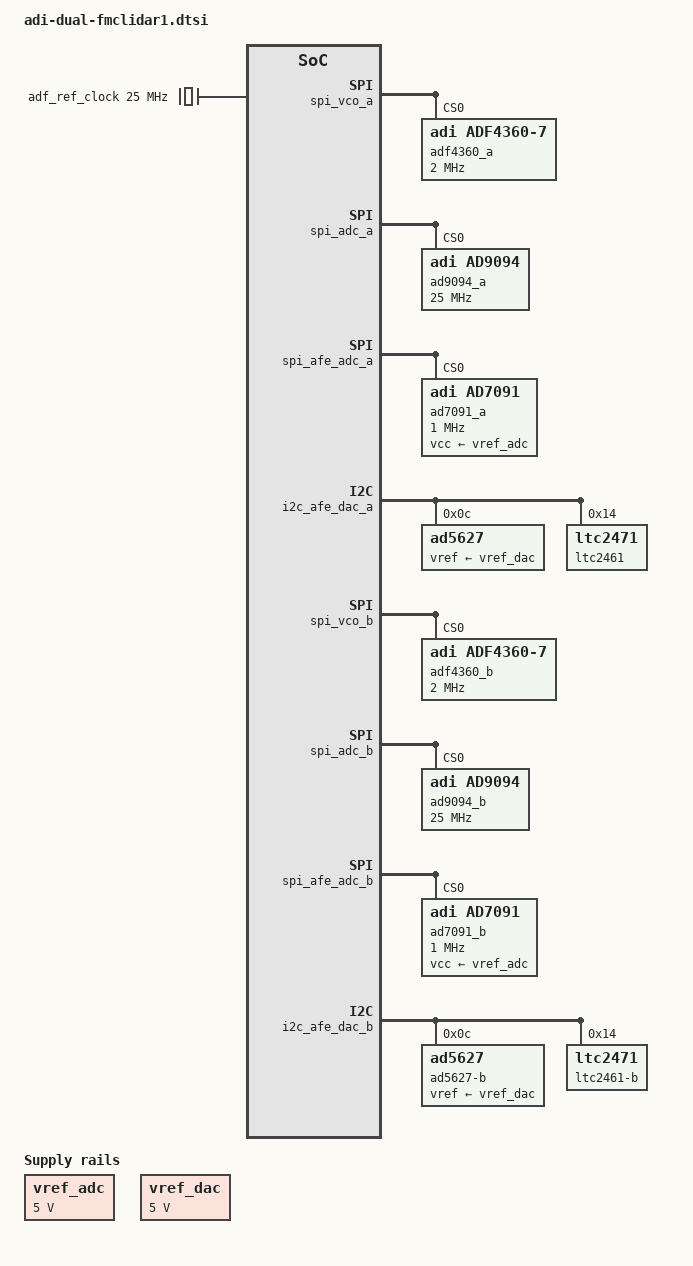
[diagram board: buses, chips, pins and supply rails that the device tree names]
#include <dt-bindings/iio/frequency/ad9528.h>

/ {
	clocks {
		adf_ref_clock: clock@0 {
			#clock-cells = <0>;
			compatible = "fixed-clock";
			clock-frequency = <25000000>;
			clock-output-names = "adf_ref_clock";
		};
	};

	vref_adc: regulator-vref-adc {
		compatible = "regulator-fixed";
		regulator-name = "vref-adc";
		regulator-min-microvolt = <5000000>;
		regulator-max-microvolt = <5000000>;
		regulator-always-on;
	};

	vref_dac: regulator-vref-dac {
		compatible = "regulator-fixed";
		regulator-name = "vref-dac";
		regulator-min-microvolt = <5000000>;
		regulator-max-microvolt = <5000000>;
		regulator-always-on;
	};
};

&spi_vco_a {
	adf4360_a: pll@0 {
		compatible = "adi,adf4360-7";
		reg = <0>;
		spi-max-frequency = <2000000>;

		#clock-cells = <0>;

		clocks = <&adf_ref_clock>;
		clock-names = "clkin";
		clock-output-names = "adf4360-7";

		adi,loop-filter-charge-pump-current-microamp = <1870>;
		adi,loop-filter-pfd-frequency-hz = <2500000>;
		adi,power-up-frequency-hz = <1000000000>;
	};
};

&spi_clkgen_a {
	ad9528_a: ad9528@0 {
		#address-cells = <1>;
		#size-cells = <0>;
		#clock-cells = <1>;
		compatible = "adi,ad9528";

		spi-max-frequency = <10000000>;
		reg = <0>;

		clocks = <&adf4360_a>;

		clock-output-names = "ad9528_out0", "ad9528_out1", "ad9528_out2", "ad9528_out3", "ad9528_out4", "ad9528_out5", "ad9528_out6", "ad9528_out7", "ad9528_out8", "ad9528_out9", "ad9528_out10", "ad9528_out11", "ad9528_out12", "ad9528_out13";
		adi,vcxo-freq = <1000000000>;

		adi,osc-in-diff-enable;

		/* PLL1 config */
		adi,pll1-bypass-enable;

		/* PLL2 config */
		adi,pll2-bypass-enable;

		ad9528_a_c0: channel@0 {
			reg = <0>;
			adi,extended-name = "ADC_SAMPLE_CLK";
			adi,driver-mode = <DRIVER_MODE_LVDS>;
			adi,divider-phase = <0>;
			adi,channel-divider = <1>;
			adi,signal-source = <SOURCE_VCO>;
		};

		ad9528_a_c1: channel@1 {
			reg = <1>;
			adi,extended-name = "CLK_SYSREF_ADC";
			adi,driver-mode = <DRIVER_MODE_LVDS>;
			adi,divider-phase = <0>;
			adi,channel-divider = <128>;
			adi,signal-source = <SOURCE_VCO>;
		};

		ad9528_a_c2: channel@2 {
			reg = <2>;
			adi,extended-name = "SYSREF_TO_FPGA";
			adi,driver-mode = <DRIVER_MODE_LVDS>;
			adi,divider-phase = <4>;
			adi,channel-divider = <128>;
			adi,signal-source = <SOURCE_VCO>;
		};

		ad9528_a_c3: channel@3 {
			reg = <3>;
			adi,extended-name = "ADC_DEV_CLK";
			adi,driver-mode = <DRIVER_MODE_LVDS>;
			adi,divider-phase = <0>;
			adi,channel-divider = <4>;
			adi,signal-source = <SOURCE_VCO>;
		};

		ad9528_a_c4: channel@4 {
			reg = <4>;
			adi,extended-name = "EXT_REFCLK_TO_FPGA";
			adi,driver-mode = <DRIVER_MODE_LVDS>;
			adi,divider-phase = <0>;
			adi,channel-divider = <4>;
			adi,signal-source = <SOURCE_VCO>;
		};

	};
};

&spi_adc_a {
	ad9094_a: ad9094@1 {
		#address-cells = <1>;
		#size-cells = <0>;
		#clock-cells = <1>;
		compatible = "adi,ad9094";

		/* SPI Setup */
		reg = <0>;
		spi-max-frequency = <25000000>;

		/* Clocks */
		clocks = <&axi_ad9094_rx_jesd_a>, <&ad9528_a 0>, <&ad9528_a 1>;
		clock-names = "jesd_adc_clk", "adc_clk", "adc_sysref";
	};
};

&spi_afe_adc_a {
	ad7091_a: ad7091@0 {
		compatible = "adi,ad7091";
		reg = <0>;
		spi-max-frequency = <1000000>;
		spi-cpol;
		vcc-supply = <&vref_adc>;
	};
};

&i2c_afe_dac_a {
	ad5627@0c {
		compatible = "ad5627";
		reg = <0x0c>;

		vref-supply = <&vref_dac>;
	};

	ltc2461@14 {
		compatible = "ltc2471";
		reg = <0x14>;
	};
};

&spi_vco_b {
	adf4360_b: pll-b@0 {
		compatible = "adi,adf4360-7";
		reg = <0>;
		spi-max-frequency = <2000000>;

		#clock-cells = <0>;

		clocks = <&adf_ref_clock>;
		clock-names = "clkin";
		clock-output-names = "adf4360-7-b";

		adi,loop-filter-charge-pump-current-microamp = <1870>;
		adi,loop-filter-pfd-frequency-hz = <2500000>;
		adi,power-up-frequency-hz = <1000000000>;
	};
};

&spi_clkgen_b {
	ad9528_b: ad9528-b@0 {
		#address-cells = <1>;
		#size-cells = <0>;
		#clock-cells = <1>;
		compatible = "adi,ad9528";

		spi-max-frequency = <10000000>;
		reg = <0>;

		clocks = <&adf4360_b>;

		clock-output-names = "ad9528_out0-b", "ad9528_out1-b", "ad9528_out2-b", "ad9528_out3-b", "ad9528_out4-b", "ad9528_out5-b", "ad9528_out6-b", "ad9528_out7-b", "ad9528_out8-b", "ad9528_out9-b", "ad9528_out10-b", "ad9528_out11-b", "ad9528_out12-b", "ad9528_out13-b";
		adi,vcxo-freq = <1000000000>;

		adi,osc-in-diff-enable;

		/* PLL1 config */
		adi,pll1-bypass-enable;

		/* PLL2 config */
		adi,pll2-bypass-enable;

		ad9528_b_c0: channel@0 {
			reg = <0>;
			adi,extended-name = "ADC_SAMPLE_CLK";
			adi,driver-mode = <DRIVER_MODE_LVDS>;
			adi,divider-phase = <0>;
			adi,channel-divider = <1>;
			adi,signal-source = <SOURCE_VCO>;
		};

		ad9528_b_c1: channel@1 {
			reg = <1>;
			adi,extended-name = "CLK_SYSREF_ADC";
			adi,driver-mode = <DRIVER_MODE_LVDS>;
			adi,divider-phase = <0>;
			adi,channel-divider = <128>;
			adi,signal-source = <SOURCE_VCO>;
		};

		ad9528_b_c2: channel@2 {
			reg = <2>;
			adi,extended-name = "SYSREF_TO_FPGA";
			adi,driver-mode = <DRIVER_MODE_LVDS>;
			adi,divider-phase = <4>;
			adi,channel-divider = <128>;
			adi,signal-source = <SOURCE_VCO>;
		};

		ad9528_b_c3: channel@3 {
			reg = <3>;
			adi,extended-name = "ADC_DEV_CLK";
			adi,driver-mode = <DRIVER_MODE_LVDS>;
			adi,divider-phase = <0>;
			adi,channel-divider = <4>;
			adi,signal-source = <SOURCE_VCO>;
		};

		ad9528_b_c4: channel@4 {
			reg = <4>;
			adi,extended-name = "EXT_REFCLK_TO_FPGA";
			adi,driver-mode = <DRIVER_MODE_LVDS>;
			adi,divider-phase = <0>;
			adi,channel-divider = <4>;
			adi,signal-source = <SOURCE_VCO>;
		};

	};
};

&spi_adc_b {
	ad9094_b: ad9094@1 {
		#address-cells = <1>;
		#size-cells = <0>;
		#clock-cells = <1>;
		compatible = "adi,ad9094";

		/* SPI Setup */
		reg = <0>;
		spi-max-frequency = <25000000>;

		/* Clocks */
		clocks = <&axi_ad9094_rx_jesd_b>, <&ad9528_b 0>, <&ad9528_b 1>;
		clock-names = "jesd_adc_clk", "adc_clk", "adc_sysref";
	};
};

&spi_afe_adc_b {
	ad7091_b: ad7091-b@0 {
		compatible = "adi,ad7091";
		reg = <0>;
		spi-max-frequency = <1000000>;
		spi-cpol;
		vcc-supply = <&vref_adc>;
	};
};

&i2c_afe_dac_b {
	ad5627-b@0c {
		compatible = "ad5627";
		reg = <0x0c>;

		vref-supply = <&vref_dac>;
	};

	ltc2461-b@14 {
		compatible = "ltc2471";
		reg = <0x14>;
	};
};
